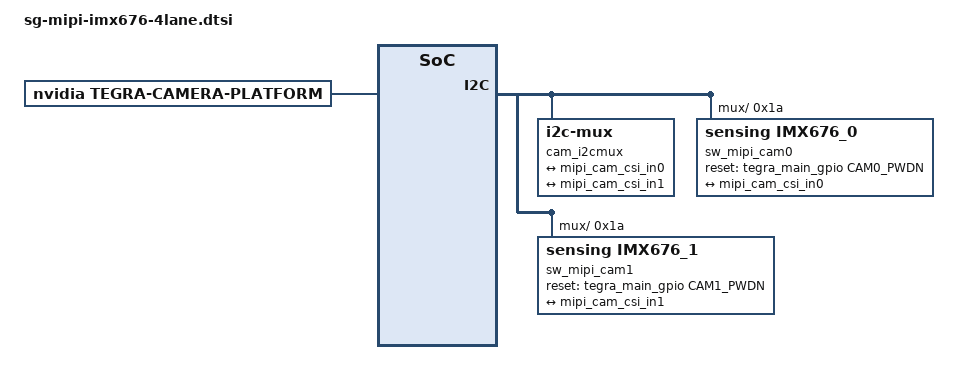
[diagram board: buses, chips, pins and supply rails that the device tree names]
/*
 * Copyright (c) 2022-2023, NVIDIA CORPORATION.  All rights reserved.
 *
 * This program is free software; you can redistribute it and/or modify
 * it under the terms of the GNU General Public License as published by
 * the Free Software Foundation; either version 2 of the License, or
 * (at your option) any later version.
 *
 * This program is distributed in the hope that it will be useful, but WITHOUT
 * ANY WARRANTY; without even the implied warranty of MERCHANTABILITY or
 * FITNESS FOR A PARTICULAR PURPOSE.  See the GNU General Public License for
 * more details.
 *
 * You should have received a copy of the GNU General Public License
 * along with this program.  If not, see <http://www.gnu.org/licenses/>.
 */
#define CAM0_PWDN	TEGRA234_MAIN_GPIO(H, 6)
#define CAM1_PWDN	TEGRA234_MAIN_GPIO(AC, 0)
#define CAM_I2C_MUX 	TEGRA234_AON_GPIO(CC, 3)

/ {
	tegra-capture-vi  {
		num-channels = <2>;
		ports {
			#address-cells = <1>;
			#size-cells = <0>;
			port@0 {
				reg = <0>;
				mipi_cam_vi_in0: endpoint {
					port-index = <0>;
					bus-width = <4>;
					remote-endpoint = <&mipi_cam_csi_out0>;
				};
			};
			port@1 {
				reg = <1>;
				mipi_cam_vi_in1: endpoint {
					port-index = <2>;
					bus-width = <4>;
					remote-endpoint = <&mipi_cam_csi_out1>;
				};
			};
		};
	};

	host1x@13e00000 {
		nvcsi@15a00000 {
			num-channels = <2>;
			#address-cells = <1>;
			#size-cells = <0>;
			channel@0 {
				reg = <0>;
				ports {
					#address-cells = <1>;
					#size-cells = <0>;
					port@0 {
						reg = <0>;
						mipi_cam_csi_in0: endpoint@0 {
							port-index = <0>;
							bus-width = <4>;
							remote-endpoint = <&mipi_cam_out0>;
						};
					};
					port@1 {
						reg = <1>;
						mipi_cam_csi_out0: endpoint@1 {
							remote-endpoint = <&mipi_cam_vi_in0>;
						};
					};
				};
			};
			channel@1 {
				reg = <1>;
				ports {
					#address-cells = <1>;
					#size-cells = <0>;
					port@0 {
						reg = <0>;
						mipi_cam_csi_in1: endpoint@2 {
							port-index = <2>;
							bus-width = <4>;
							remote-endpoint = <&mipi_cam_out1>;
						};
					};
					port@1 {
						reg = <1>;
						mipi_cam_csi_out1: endpoint@3 {
							remote-endpoint = <&mipi_cam_vi_in1>;
						};
					};
				};
			};
		};
	};

	cam_i2cmux {
		i2c@0 {
			sw_mipi_cam0: cam_0@1a {
				compatible = "sensing,imx676_0";
				/* I2C device address */
				reg = <0x1a>;

				/* V4L2 device node location */
				devnode = "video0";

				/* Physical dimensions of sensor */
				physical_w = "3.680";
				physical_h = "2.760";

				sensor_model = "imx676";

				use_sensor_mode_id = "true";

				/* Convert Gain to unit of dB (decibel) befor passing to kernel driver */
				use_decibel_gain = "true";

				/* WAR to prevent banding by reducing analog gain. Bug 2229902 */
				limit_analog_gain = "true";

				reset-gpios = <&tegra_main_gpio CAM0_PWDN GPIO_ACTIVE_HIGH>;

				/**
				* ==== Modes ====
				*/
				mode0 { /*  */
					mclk_khz = "24000";
					num_lanes = "4";
					tegra_sinterface = "serial_a";
					phy_mode = "DPHY";
					discontinuous_clk = "no";
					dpcm_enable = "false";
					cil_settletime = "0";
					lane_polarity = "0";

					active_w = "3552";
					active_h = "3552";
					mode_type = "bayer";
					pixel_phase = "rggb";
					csi_pixel_bit_depth = "10";
					dynamic_pixel_bit_depth = "10";
					readout_orientation = "0";
					line_length = "3940";
					inherent_gain = "1";
					mclk_multiplier = "39.6";//600000 Khz / 25 =24000 Khz
					pix_clk_hz = "950400000";

					gain_factor = "1000";
					min_gain_val = "1"; /* dB */
					max_gain_val = "72000"; /* dB */
					step_gain_val = "300"; /* 0.3 */
					default_gain = "1";
					min_hdr_ratio = "1";
					max_hdr_ratio = "1";
					framerate_factor = "1000000";
					min_framerate = "30000000";
					max_framerate = "30000000";
					step_framerate = "1";
					default_framerate = "30000000";
					exposure_factor = "1000000";
					min_exp_time = "59"; /*us, 2 lines*/
					max_exp_time = "33333";
					step_exp_time = "1";
					default_exp_time = "33333";/* us */
					embedded_metadata_height = "1";
				};

				ports {
					#address-cells = <1>;
					#size-cells = <0>;

					port@0 {
						reg = <0>;
						mipi_cam_out0: endpoint {
							port-index = <0>;
							bus-width = <4>;
							remote-endpoint = <&mipi_cam_csi_in0>;
						};
					};
				};
			};
		};
		i2c@1 {
			sw_mipi_cam1: cam_1@1a {
				compatible = "sensing,imx676_1";
				/* I2C device address */
				reg = <0x1a>;

				/* V4L2 device node location */
				devnode = "video1";

				/* Physical dimensions of sensor */
				physical_w = "3.680";
				physical_h = "2.760";

				sensor_model = "imx676";

				use_sensor_mode_id = "true";

				/* Convert Gain to unit of dB (decibel) befor passing to kernel driver */
				use_decibel_gain = "true";

				/* WAR to prevent banding by reducing analog gain. Bug 2229902 */
				limit_analog_gain = "true";

				reset-gpios = <&tegra_main_gpio CAM1_PWDN GPIO_ACTIVE_HIGH>;

				mode0 { /* 3552x3552_4lane_raw12_linear_30fps */
					mclk_khz = "24000";
					num_lanes = "4";
					tegra_sinterface = "serial_c";
					phy_mode = "DPHY";
					discontinuous_clk = "no";
					dpcm_enable = "false";
					cil_settletime = "0";
					lane_polarity = "0";

					active_w = "3552";
					active_h = "3552";
					mode_type = "bayer";
					pixel_phase = "rggb";
					csi_pixel_bit_depth = "12";
					dynamic_pixel_bit_depth = "12";
					readout_orientation = "0";
					line_length = "3940";
					inherent_gain = "1";
					mclk_multiplier = "39.6";
					pix_clk_hz = "480000000";

					gain_factor = "1000";
					min_gain_val = "1"; /* dB */
					max_gain_val = "72000"; /* dB */
					step_gain_val = "300"; /* 0.3 */
					default_gain = "1";
					min_hdr_ratio = "1";
					max_hdr_ratio = "1";
					framerate_factor = "1000000";
					min_framerate = "30000000";
					max_framerate = "30000000";
					step_framerate = "1";
					default_framerate = "30000000";
					exposure_factor = "1000000";
					min_exp_time = "18"; 		/*us, 2 lines*/
					max_exp_time = "30000";		/*us, 3934 lines*/
					step_exp_time = "1";
					default_exp_time = "30000";/* us */
					embedded_metadata_height = "1";
				};

				mode1 { /* 1768x1768_4lane_raw12_linear_30fps */
					mclk_khz = "24000";
					num_lanes = "4";
					tegra_sinterface = "serial_c";
					phy_mode = "DPHY";
					discontinuous_clk = "no";
					dpcm_enable = "false";
					cil_settletime = "0";
					lane_polarity = "0";

					active_w = "1776";
					active_h = "1776";
					mode_type = "bayer";
					pixel_phase = "rggb";
					csi_pixel_bit_depth = "12";
					dynamic_pixel_bit_depth = "12";
					readout_orientation = "0";
					line_length = "3940";
					inherent_gain = "1";
					mclk_multiplier = "39.6";
					pix_clk_hz = "297000000";

					gain_factor = "1000";
					min_gain_val = "1"; /* dB */
					max_gain_val = "72000"; /* dB */
					step_gain_val = "300"; /* 0.3 */
					default_gain = "1";
					min_hdr_ratio = "1";
					max_hdr_ratio = "1";
					framerate_factor = "1000000";
					min_framerate = "30000000";
					max_framerate = "30000000";
					step_framerate = "1";
					default_framerate = "30000000";
					exposure_factor = "1000000";
					min_exp_time = "18"; 		/*us, 2 lines*/
					max_exp_time = "30000";		/*us, 3934 lines*/
					step_exp_time = "1";
					default_exp_time = "30000";/* us */
					embedded_metadata_height = "1";
				};

				mode2 { /* 3536X3536_4LANE_RAW10_DOL2_30FPS */
					mclk_khz = "24000";
					num_lanes = "4";
					tegra_sinterface = "serial_c";
					phy_mode = "DPHY";
					discontinuous_clk = "yes";
					dpcm_enable = "false";
					cil_settletime = "0";
					lane_polarity = "0";

					active_w = "3568";    
					active_h = "7410";
					mode_type = "bayer_wdr_dol";
					pixel_phase = "rggb";
					csi_pixel_bit_depth = "10";
					dynamic_pixel_bit_depth = "10";
					readout_orientation = "0";
					line_length = "3872";
					inherent_gain = "1";
					mclk_multiplier = "25";
					pix_clk_hz = "950400000";		

					gain_factor = "1000";
					min_gain_val = "1"; 		/* 0 dB */
					max_gain_val = "72000"; /* dB */
					step_gain_val = "300"; /* 0.3 */
					default_gain = "1";
					min_hdr_ratio = "16";
					max_hdr_ratio = "16";
					framerate_factor = "1000000";
					min_framerate = "30000000";
					max_framerate = "30000000";
					step_framerate = "1";
					default_framerate = "30000000";
					exposure_factor = "1000000";
					min_exp_time = "17"; 		/*us, 4 lines*/
					max_exp_time = "30000";		/*us, 7856-24 lines*/
					step_exp_time = "1";
					default_exp_time = "30000";/* us */
					embedded_metadata_height = "1";
					
					// /* WDR related settings */
					num_of_exposure = "2";
					num_of_ignored_lines = "24"; 
					num_of_lines_offset_0 = "145";
					num_of_ignored_pixels = "16";
					num_of_left_margin_pixels = "8";
					num_of_right_margin_pixels = "8";
				};

				mode3 { /* 3552x3552_4lane_raw10_linear_60fps */
					mclk_khz = "24000";
					num_lanes = "4";
					tegra_sinterface = "serial_c";
					phy_mode = "DPHY";
					discontinuous_clk = "yes";
					dpcm_enable = "false";
					cil_settletime = "0";
					lane_polarity = "0";

					active_w = "3552";
					active_h = "3552";
					mode_type = "bayer";
					pixel_phase = "rggb";
					csi_pixel_bit_depth = "10";
					dynamic_pixel_bit_depth = "10";
					readout_orientation = "0";
					line_length = "3940";
					inherent_gain = "1";
					mclk_multiplier = "39.6";
					pix_clk_hz = "950400000";

					gain_factor = "1000";
					min_gain_val = "1"; /* dB */
					max_gain_val = "72000"; /* dB */
					step_gain_val = "300"; /* 0.3 */
					default_gain = "1";
					min_hdr_ratio = "1";
					max_hdr_ratio = "1";
					framerate_factor = "1000000";
					min_framerate = "60000000";
					max_framerate = "60000000";
					step_framerate = "1";
					default_framerate = "60000000";
					exposure_factor = "1000000";
					min_exp_time = "9"; 		/*us, 2 lines*/
					max_exp_time = "16000";		/*us, 3934 lines*/
					step_exp_time = "1";
					default_exp_time = "16000";/* us */
					embedded_metadata_height = "1";
				};

				mode4 { /* 1776x1776_4lane_raw12_linear_60fps */
					mclk_khz = "24000";
					num_lanes = "4";
					tegra_sinterface = "serial_c";
					phy_mode = "DPHY";
					discontinuous_clk = "no";
					dpcm_enable = "false";
					cil_settletime = "0";
					lane_polarity = "0";

					active_w = "1776";
					active_h = "1776";
					mode_type = "bayer";
					pixel_phase = "rggb";
					csi_pixel_bit_depth = "12";
					dynamic_pixel_bit_depth = "12";
					readout_orientation = "0";
					line_length = "3940";
					inherent_gain = "1";
					mclk_multiplier = "39.6";
					pix_clk_hz = "594000000";

					gain_factor = "1000";
					min_gain_val = "1"; /* dB */
					max_gain_val = "72000"; /* dB */
					step_gain_val = "300"; /* 0.3 */
					default_gain = "1";
					min_hdr_ratio = "1";
					max_hdr_ratio = "1";
					framerate_factor = "1000000";
					min_framerate = "60000000";
					max_framerate = "60000000";
					step_framerate = "1";
					default_framerate = "60000000";
					exposure_factor = "1000000";
					min_exp_time = "9"; 		/*us, 2 lines*/
					max_exp_time = "16000";		/*us, 3934 lines*/
					step_exp_time = "1";
					default_exp_time = "16000";/* us */
					embedded_metadata_height = "1";
				};
				
				ports {
					#address-cells = <1>;
					#size-cells = <0>;

					port@0 {
						reg = <0>;
						mipi_cam_out1: endpoint {
							port-index = <2>;
							bus-width = <4>;
							remote-endpoint = <&mipi_cam_csi_in1>;
						};
					};
				};
			};
		};
	};
};

/ {
	tegra-camera-platform {
		compatible = "nvidia, tegra-camera-platform";

		/**
		* Physical settings to calculate max ISO BW
		*
		* num_csi_lanes = <>;
		* Total number of CSI lanes when all cameras are active
		*
		* max_lane_speed = <>;
		* Max lane speed in Kbit/s
		*
		* min_bits_per_pixel = <>;
		* Min bits per pixel
		*
		* vi_peak_byte_per_pixel = <>;
		* Max byte per pixel for the VI ISO case
		*
		* vi_bw_margin_pct = <>;
		* Vi bandwidth margin in percentage
		*
		* max_pixel_rate = <>;
		* Max pixel rate in Kpixel/s for the ISP ISO case
		*
		* isp_peak_byte_per_pixel = <>;
		* Max byte per pixel for the ISP ISO case
		*
		* isp_bw_margin_pct = <>;
		* Isp bandwidth margin in percentage
		*/
		num_csi_lanes = <8>;
		max_lane_speed = <2500000>;
		min_bits_per_pixel = <10>;
		vi_peak_byte_per_pixel = <2>;
		vi_bw_margin_pct = <25>;
		max_pixel_rate = <7500000>;
		isp_peak_byte_per_pixel = <5>;
		isp_bw_margin_pct = <25>;

		/**
		 * The general guideline for naming badge_info contains 3 parts, and is as follows,
		 * The first part is the camera_board_id for the module; if the module is in a FFD
		 * platform, then use the platform name for this part.
		 * The second part contains the position of the module, ex. "rear" or "front".
		 * The third part contains the last 6 characters of a part number which is found
		 * in the module's specsheet from the vendor.
		 */
		modules {
			module0 {
				badge = "imx676_front";
				position = "front";
				orientation = "1";
				drivernode0 {
					pcl_id = "v4l2_sensor";
					devname = "imx676 9-001a";
					proc-device-tree = "/proc/device-tree/cam_i2cmux/i2c@0/cam_0@1a";
				};
			};
			module1 {
				badge = "imx676_rear";
				position = "rear";
				orientation = "1";
				drivernode0 {
					pcl_id = "v4l2_sensor";
					devname = "imx676 10-001a";
					proc-device-tree = "/proc/device-tree/cam_i2cmux/i2c@1/cam_1@1a";
				};
			};
		};
	};
};
